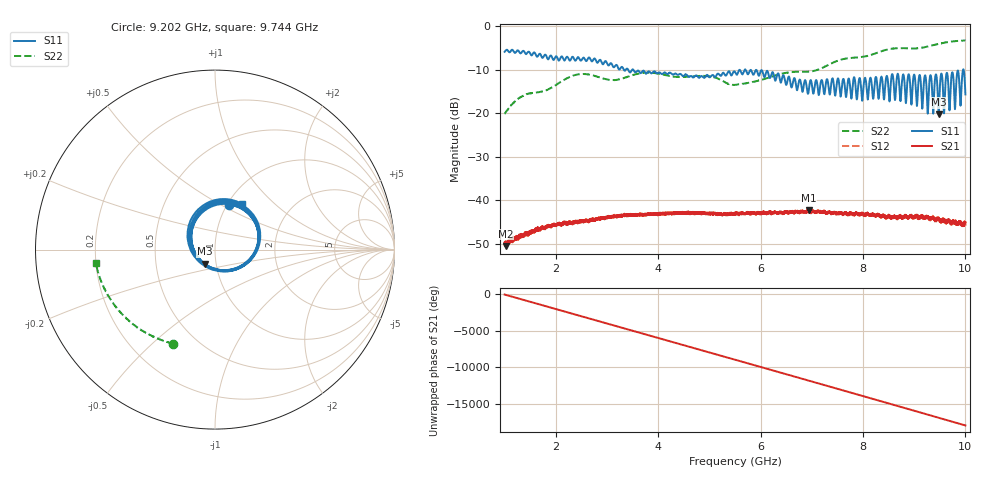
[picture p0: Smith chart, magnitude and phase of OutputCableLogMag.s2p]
!Keysight Technologies,N5232B,MY63057082,A.15.71.11
!Date: Thursday, April 03, 2025 04:25:03
!Correction: S11(C  2-Port  )
!S21(C  2-Port  )
!S12(C  2-Port  )
!S22(C  2-Port  )
!S2P File: Measurements: S11, S21, S12, S22:
# Hz S  dB  R 50
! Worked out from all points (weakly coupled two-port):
!   9001 points, 1 GHz to 10 GHz, reference 50 ohm
!   highest |S21| = -42.31 dB at 6.942 GHz (marker M1); lowest = -50.5 dB at 1.024 GHz (marker M2)
!   lowest |S11| = -20.2 dB at 9.477 GHz (marker M3), VSWR 1.22, Z = 44.1 - j7.02 ohm
!   |S11| at or under -10 dB: 3.514 GHz to 5.591 GHz (2.076 GHz wide, 45.6 % of centre); 5.591 GHz to 5.69 GHz (98.57 MHz wide, 1.75 % of centre); 5.707 GHz to 9.955 GHz (4.248 GHz wide, 54.2 % of centre) (the widest 3 of 6)
!   |S22| runs from -20.1 to -3.3 dB; largest |S21 - S12| = 0.00062
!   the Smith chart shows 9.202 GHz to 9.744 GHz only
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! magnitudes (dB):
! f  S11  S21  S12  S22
! 1 GHz  -5.9  -49.9  -49.8  -20.1
! 1.024 GHz  -5.5  -50.5  -50.1  -19.7
! 1.346 GHz  -5.8  -47.9  -48.4  -16.1
! 2.5 GHz  -7.8  -44.9  -44.8  -11.0
! 3.129 GHz  -9.4  -43.6  -43.7  -12.4
! 4 GHz  -10.7  -43.1  -43.2  -10.9
! 5.5 GHz  -10.5  -43.1  -43.2  -13.5
! 6.019 GHz  -10.1  -43.1  -42.9  -12.3
! 6.942 GHz  -14.6  -42.3  -42.7  -10.4
! 7 GHz  -13.3  -42.4  -42.5  -10.4
! 8.5 GHz  -14.7  -43.5  -43.6  -5.3
! 8.892 GHz  -11.1  -44.0  -43.9  -5.1
! 9.211 GHz  -11.3  -44.0  -44.3  -4.8
! 9.264 GHz  -20.1  -43.8  -43.8  -4.7
! 9.424 GHz  -11.1  -44.4  -44.2  -4.2
! 9.477 GHz  -20.2  -44.2  -44.6  -4.1
! 9.637 GHz  -10.7  -45.1  -44.8  -3.7
! 9.8 GHz  -18.8  -45.0  -45.3  -3.4
! 9.851 GHz  -10.2  -45.6  -45.7  -3.4
! 9.908 GHz  -18.0  -45.3  -45.3  -3.3
! 9.962 GHz  -9.9  -45.4  -45.5  -3.3
! 10 GHz  -15.7  -45.1  -45.1  -3.3
